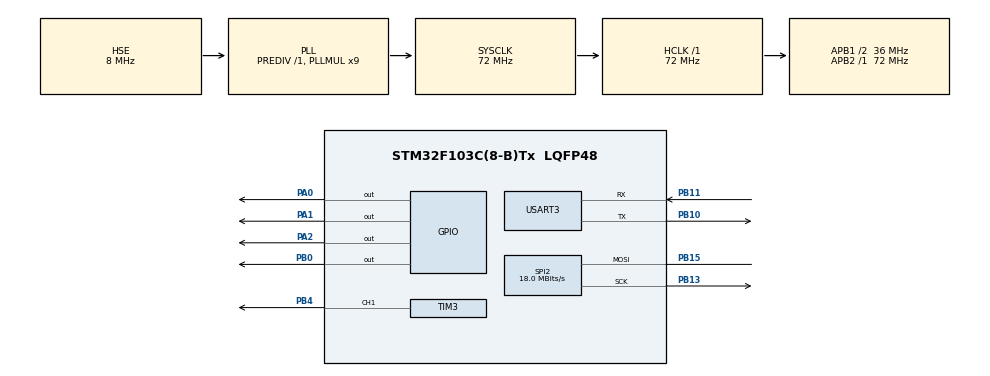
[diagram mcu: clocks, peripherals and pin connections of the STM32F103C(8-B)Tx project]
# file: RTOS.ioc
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FREERTOS.BinarySemaphores01=SensorSem,Dynamic,NULL;ServoSem,Dynamic,NULL;DataSem,Dynamic,NULL;IRQSem,Dynamic,NULL
FREERTOS.Tasks01=Task1,2,128,Task_Sensor,Default,NULL,Dynamic,NULL,NULL;Task2,1,128,Task_Servo,Default,NULL,Dynamic,NULL,NULL;Task3,0,128,Task_Display,Default,NULL,Dynamic,NULL,NULL;Task4,-1,128,Task_Data,Default,NULL,Dynamic,NULL,NULL
Mcu.Family=STM32F1
Mcu.Name=STM32F103C(8-B)Tx
Mcu.Package=LQFP48
NVIC.PriorityGroup=NVIC_PRIORITYGROUP_4
NVIC.TIM1_UP_IRQn=true\:15\:0\:false\:false\:true\:false\:false\:true\:true
NVIC.TimeBase=TIM1_UP_IRQn
NVIC.TimeBaseIP=TIM1
NVIC.USART3_IRQn=true\:5\:0\:false\:false\:true\:true\:true\:true\:true
PA0-WKUP.GPIO_PuPd=GPIO_PULLUP
PA0-WKUP.Signal=GPIO_Output
PA1.GPIO_PuPd=GPIO_PULLUP
PA1.Signal=GPIO_Output
PA13.Mode=Serial_Wire
PA13.Signal=SYS_JTMS-SWDIO
PA14.Mode=Serial_Wire
PA14.Signal=SYS_JTCK-SWCLK
PA2.GPIO_PuPd=GPIO_PULLUP
PA2.Signal=GPIO_Output
PB0.Signal=GPIO_Output
PB10.Mode=Asynchronous
PB10.Signal=USART3_TX
PB11.Mode=Asynchronous
PB11.Signal=USART3_RX
PB13.Mode=Simplex_Bidirectional_Master
PB13.Signal=SPI2_SCK
PB15.Mode=Simplex_Bidirectional_Master
PB15.Signal=SPI2_MOSI
PB4.Signal=S_TIM3_CH1
PD0-OSC_IN.Mode=HSE-External-Oscillator
PD0-OSC_IN.Signal=RCC_OSC_IN
PD1-OSC_OUT.Mode=HSE-External-Oscillator
PD1-OSC_OUT.Signal=RCC_OSC_OUT
ProjectManager.HeapSize=0x200
ProjectManager.StackSize=0x400
ProjectManager.TargetToolchain=Makefile
RCC.AHBFreq_Value=72000000
RCC.APB1CLKDivider=RCC_HCLK_DIV2
RCC.APB1Freq_Value=36000000
RCC.APB1TimFreq_Value=72000000
RCC.APB2Freq_Value=72000000
RCC.APB2TimFreq_Value=72000000
RCC.HCLKFreq_Value=72000000
RCC.PLLMUL=RCC_PLL_MUL9
RCC.PLLSourceVirtual=RCC_PLLSOURCE_HSE
RCC.SYSCLKFreq_VALUE=72000000
RCC.SYSCLKSource=RCC_SYSCLKSOURCE_PLLCLK
RCC.USBFreq_Value=72000000
SH.S_TIM3_CH1.0=TIM3_CH1,PWM Generation1 CH1
SPI2.CalculateBaudRate=18.0 MBits/s
SPI2.Direction=SPI_DIRECTION_1LINE
SPI2.Mode=SPI_MODE_MASTER
SPI2.VirtualType=VM_MASTER
TIM2.Prescaler=72-1
TIM3.Channel-PWM\ Generation1\ CH1=TIM_CHANNEL_1
TIM3.Period=1000-1
TIM3.Prescaler=1444-1
USART3.VirtualMode=VM_ASYNC
VP_FREERTOS_VS_CMSIS_V1.Mode=CMSIS_V1
VP_SYS_VS_tim1.Mode=TIM1
VP_TIM2_VS_ClockSourceINT.Mode=Internal
VP_TIM3_VS_ClockSourceINT.Mode=Internal
board=custom

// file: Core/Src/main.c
/* USER CODE BEGIN Header */
/**
 ******************************************************************************
 * @file           : main.c
 * @brief          : Main program body
 ******************************************************************************
 * @attention
 *
 * Copyright (c) 2023 STMicroelectronics.
 * All rights reserved.
 *
 * This software is licensed under terms that can be found in the LICENSE file
 * in the root directory of this software component.
 * If no LICENSE file comes with this software, it is provided AS-IS.
 *
 ******************************************************************************
 */
/* USER CODE END Header */
#include "main.h"
#include "cmsis_os.h"

/* USER CODE BEGIN Includes */
#include "string.h"
#include "stdio.h"
#include "stdlib.h"
#include "math.h"
#include "st7735.h"
#include "dht22.h"
/* USER CODE END Includes */

 SPI_HandleTypeDef hspi2;

TIM_HandleTypeDef htim2;
TIM_HandleTypeDef htim3;

UART_HandleTypeDef huart3;

osThreadId Task1Handle;
osThreadId Task2Handle;
osThreadId Task3Handle;
osThreadId Task4Handle;
osSemaphoreId SensorSemHandle;
osSemaphoreId ServoSemHandle;
osSemaphoreId DataSemHandle;
osSemaphoreId IRQSemHandle;
/* USER CODE BEGIN PV */
enum
{
  Mode_auto,
  Mode_manual
};
volatile int Mode = Mode_auto;

uint8_t Rx_data;
char buffer_data[50] = {0};
volatile int Rx_index = 0;

// example
int temp;
int humi;

char buf_sensor[20] = {0};
char buf_temp[20] = {0};
char buf_humi[20] = {0};

int count = 25;
char rota[20] = {0};
char threshold[20] = {0};
char label_thres[10] = {0};
char str_thres[5] = {0};
int angle;

int PC_rota;
float PC_threshold=30;

char thres_tring[] = "Thres: 30";
uint8_t RHI, RHD, TCI, TCD, SUM;
float tCelsius = 0;
float tFahrenheit = 0;
float RH = 0;
/* USER CODE END PV */

void SystemClock_Config(void);
static void MX_GPIO_Init(void);
static void MX_USART3_UART_Init(void);
static void MX_SPI2_Init(void);
static void MX_TIM2_Init(void);
static void MX_TIM3_Init(void);
void Task_Sensor(void const * argument);
void Task_Servo(void const * argument);
void Task_Display(void const * argument);
void Task_Data(void const * argument);

/* USER CODE BEGIN 0 */
void log_data(char *buf)
{
  HAL_UART_Transmit(&huart3, (uint8_t *)buf, strlen(buf), 100);
}

void HAL_UART_RxCpltCallback(UART_HandleTypeDef *huart)
{
  if (huart == &huart3)
  {
    if (Rx_data == 13)
    {
      buffer_data[Rx_index] = '\0';
      Rx_index = 0;
      if (strcmp(buffer_data, "manual") == 0)
      {
        Mode = Mode_manual;
      }
      if (strcmp(buffer_data, "auto") == 0)
      {
        Mode = Mode_auto;
      }
      if (strncmp(buffer_data, "Rota", 4) == 0)
      {
        // Parse string
        sscanf(buffer_data, "%*[^0-9]%d", &PC_rota);
      }
      if (strncmp(buffer_data, "Threshold", strlen("Threshold")) == 0)
      {
        log_data("check data thresh\n");
        sscanf(buffer_data, "%s%s", label_thres, str_thres);
      }
      osSemaphoreRelease(IRQSemHandle);
    }
    else
    {
      buffer_data[Rx_index] = (char)Rx_data;
      Rx_index++;
      // log_data((char*)Rx_data);
    }
    HAL_UART_Receive_IT(&huart3, &Rx_data, 1);
  }
}
/* USER CODE END 0 */

int main(void)
{

  /* MCU Configuration--------------------------------------------------------*/

  /* Reset of all peripherals, Initializes the Flash interface and the Systick. */
  HAL_Init();

  /* Configure the system clock */
  SystemClock_Config();

  /* Initialize all configured peripherals */
  MX_GPIO_Init();
  MX_USART3_UART_Init();
  MX_SPI2_Init();
  MX_TIM2_Init();
  MX_TIM3_Init();
  /* USER CODE BEGIN 2 */
  HAL_UART_Receive_IT(&huart3, &Rx_data, 1);
  HAL_TIM_PWM_Start(&htim3, TIM_CHANNEL_1);
  ST7735_Init();
  HAL_TIM_Base_Start(&htim2);
  ST7735_FillScreen(ST7735_BLACK);
  ST7735_WriteString(25, 0, "Team 17", Font_11x18, ST7735_RED, ST7735_BLACK);
  ST7735_WriteString(0, 30, "Temp: ", Font_11x18, ST7735_RED, ST7735_BLACK);
  ST7735_WriteString(0, 3 * 10 * 2, "Humi: ", Font_11x18, ST7735_RED, ST7735_BLACK);
  ST7735_WriteString(0, 3 * 10 * 3, "Rota: ", Font_11x18, ST7735_GREEN, ST7735_BLACK);
  // sprintf(thres_tring,"Thresh: %.1f",PC_threshold);
  // strcat(thres_tring,"30");
  ST7735_WriteString(0, 3 * 10 * 4, thres_tring, Font_11x18, ST7735_GREEN, ST7735_BLACK);
  /* USER CODE END 2 */

  /* Create the semaphores(s) */
  /* definition and creation of SensorSem */
  osSemaphoreDef(SensorSem);
  SensorSemHandle = osSemaphoreCreate(osSemaphore(SensorSem), 1);

  /* definition and creation of ServoSem */
  osSemaphoreDef(ServoSem);
  ServoSemHandle = osSemaphoreCreate(osSemaphore(ServoSem), 1);

  /* definition and creation of DataSem */
  osSemaphoreDef(DataSem);
  DataSemHandle = osSemaphoreCreate(osSemaphore(DataSem), 1);

  /* definition and creation of IRQSem */
  osSemaphoreDef(IRQSem);
  IRQSemHandle = osSemaphoreCreate(osSemaphore(IRQSem), 1);

  /* Create the thread(s) */
  /* definition and creation of Task1 */
  osThreadDef(Task1, Task_Sensor, osPriorityHigh, 0, 128);
  Task1Handle = osThreadCreate(osThread(Task1), NULL);

  /* definition and creation of Task2 */
  osThreadDef(Task2, Task_Servo, osPriorityAboveNormal, 0, 128);
  Task2Handle = osThreadCreate(osThread(Task2), NULL);

  /* definition and creation of Task3 */
  osThreadDef(Task3, Task_Display, osPriorityNormal, 0, 128);
  Task3Handle = osThreadCreate(osThread(Task3), NULL);

  /* definition and creation of Task4 */
  osThreadDef(Task4, Task_Data, osPriorityBelowNormal, 0, 128);
  Task4Handle = osThreadCreate(osThread(Task4), NULL);

  /* Start scheduler */
  osKernelStart();

  /* We should never get here as control is now taken by the scheduler */
  /* Infinite loop */
  while (1)
  {

  }
}

void SystemClock_Config(void)
{
  RCC_OscInitTypeDef RCC_OscInitStruct = {0};
  RCC_ClkInitTypeDef RCC_ClkInitStruct = {0};

  /** Initializes the RCC Oscillators according to the specified parameters
  * in the RCC_OscInitTypeDef structure.
  */
  RCC_OscInitStruct.OscillatorType = RCC_OSCILLATORTYPE_HSE;
  RCC_OscInitStruct.HSEState = RCC_HSE_ON;
  RCC_OscInitStruct.HSEPredivValue = RCC_HSE_PREDIV_DIV1;
  RCC_OscInitStruct.HSIState = RCC_HSI_ON;
  RCC_OscInitStruct.PLL.PLLState = RCC_PLL_ON;
  RCC_OscInitStruct.PLL.PLLSource = RCC_PLLSOURCE_HSE;
  RCC_OscInitStruct.PLL.PLLMUL = RCC_PLL_MUL9;
  if (HAL_RCC_OscConfig(&RCC_OscInitStruct) != HAL_OK)
  {
    Error_Handler();
  }

  /** Initializes the CPU, AHB and APB buses clocks
  */
  RCC_ClkInitStruct.ClockType = RCC_CLOCKTYPE_HCLK|RCC_CLOCKTYPE_SYSCLK
                              |RCC_CLOCKTYPE_PCLK1|RCC_CLOCKTYPE_PCLK2;
  RCC_ClkInitStruct.SYSCLKSource = RCC_SYSCLKSOURCE_PLLCLK;
  RCC_ClkInitStruct.AHBCLKDivider = RCC_SYSCLK_DIV1;
  RCC_ClkInitStruct.APB1CLKDivider = RCC_HCLK_DIV2;
  RCC_ClkInitStruct.APB2CLKDivider = RCC_HCLK_DIV1;

  if (HAL_RCC_ClockConfig(&RCC_ClkInitStruct, FLASH_LATENCY_2) != HAL_OK)
  {
    Error_Handler();
  }
}

static void MX_SPI2_Init(void)
{

  /* SPI2 parameter configuration*/
  hspi2.Instance = SPI2;
  hspi2.Init.Mode = SPI_MODE_MASTER;
  hspi2.Init.Direction = SPI_DIRECTION_1LINE;
  hspi2.Init.DataSize = SPI_DATASIZE_8BIT;
  hspi2.Init.CLKPolarity = SPI_POLARITY_LOW;
  hspi2.Init.CLKPhase = SPI_PHASE_1EDGE;
  hspi2.Init.NSS = SPI_NSS_SOFT;
  hspi2.Init.BaudRatePrescaler = SPI_BAUDRATEPRESCALER_2;
  hspi2.Init.FirstBit = SPI_FIRSTBIT_MSB;
  hspi2.Init.TIMode = SPI_TIMODE_DISABLE;
  hspi2.Init.CRCCalculation = SPI_CRCCALCULATION_DISABLE;
  hspi2.Init.CRCPolynomial = 10;
  if (HAL_SPI_Init(&hspi2) != HAL_OK)
  {
    Error_Handler();
  }

}

static void MX_TIM2_Init(void)
{

  TIM_ClockConfigTypeDef sClockSourceConfig = {0};
  TIM_MasterConfigTypeDef sMasterConfig = {0};

  htim2.Instance = TIM2;
  htim2.Init.Prescaler = 72-1;
  htim2.Init.CounterMode = TIM_COUNTERMODE_UP;
  htim2.Init.Period = 65535;
  htim2.Init.ClockDivision = TIM_CLOCKDIVISION_DIV1;
  htim2.Init.AutoReloadPreload = TIM_AUTORELOAD_PRELOAD_DISABLE;
  if (HAL_TIM_Base_Init(&htim2) != HAL_OK)
  {
    Error_Handler();
  }
  sClockSourceConfig.ClockSource = TIM_CLOCKSOURCE_INTERNAL;
  if (HAL_TIM_ConfigClockSource(&htim2, &sClockSourceConfig) != HAL_OK)
  {
    Error_Handler();
  }
  sMasterConfig.MasterOutputTrigger = TIM_TRGO_RESET;
  sMasterConfig.MasterSlaveMode = TIM_MASTERSLAVEMODE_DISABLE;
  if (HAL_TIMEx_MasterConfigSynchronization(&htim2, &sMasterConfig) != HAL_OK)
  {
    Error_Handler();
  }

}

static void MX_TIM3_Init(void)
{

  TIM_ClockConfigTypeDef sClockSourceConfig = {0};
  TIM_MasterConfigTypeDef sMasterConfig = {0};
  TIM_OC_InitTypeDef sConfigOC = {0};

  htim3.Instance = TIM3;
  htim3.Init.Prescaler = 1444-1;
  htim3.Init.CounterMode = TIM_COUNTERMODE_UP;
  htim3.Init.Period = 1000-1;
  htim3.Init.ClockDivision = TIM_CLOCKDIVISION_DIV1;
  htim3.Init.AutoReloadPreload = TIM_AUTORELOAD_PRELOAD_DISABLE;
  if (HAL_TIM_Base_Init(&htim3) != HAL_OK)
  {
    Error_Handler();
  }
  sClockSourceConfig.ClockSource = TIM_CLOCKSOURCE_INTERNAL;
  if (HAL_TIM_ConfigClockSource(&htim3, &sClockSourceConfig) != HAL_OK)
  {
    Error_Handler();
  }
  if (HAL_TIM_PWM_Init(&htim3) != HAL_OK)
  {
    Error_Handler();
  }
  sMasterConfig.MasterOutputTrigger = TIM_TRGO_RESET;
  sMasterConfig.MasterSlaveMode = TIM_MASTERSLAVEMODE_DISABLE;
  if (HAL_TIMEx_MasterConfigSynchronization(&htim3, &sMasterConfig) != HAL_OK)
  {
    Error_Handler();
  }
  sConfigOC.OCMode = TIM_OCMODE_PWM1;
  sConfigOC.Pulse = 0;
  sConfigOC.OCPolarity = TIM_OCPOLARITY_HIGH;
  sConfigOC.OCFastMode = TIM_OCFAST_DISABLE;
  if (HAL_TIM_PWM_ConfigChannel(&htim3, &sConfigOC, TIM_CHANNEL_1) != HAL_OK)
  {
    Error_Handler();
  }
  HAL_TIM_MspPostInit(&htim3);

}

static void MX_USART3_UART_Init(void)
{

  huart3.Instance = USART3;
  huart3.Init.BaudRate = 115200;
  huart3.Init.WordLength = UART_WORDLENGTH_8B;
  huart3.Init.StopBits = UART_STOPBITS_1;
  huart3.Init.Parity = UART_PARITY_NONE;
  huart3.Init.Mode = UART_MODE_TX_RX;
  huart3.Init.HwFlowCtl = UART_HWCONTROL_NONE;
  huart3.Init.OverSampling = UART_OVERSAMPLING_16;
  if (HAL_UART_Init(&huart3) != HAL_OK)
  {
    Error_Handler();
  }

}

static void MX_GPIO_Init(void)
{
  GPIO_InitTypeDef GPIO_InitStruct = {0};

  /* GPIO Ports Clock Enable */
  __HAL_RCC_GPIOD_CLK_ENABLE();
  __HAL_RCC_GPIOA_CLK_ENABLE();
  __HAL_RCC_GPIOB_CLK_ENABLE();

  /*Configure GPIO pin Output Level */
  HAL_GPIO_WritePin(GPIOA, GPIO_PIN_0|GPIO_PIN_1|GPIO_PIN_2, GPIO_PIN_RESET);

  /*Configure GPIO pin Output Level */
  HAL_GPIO_WritePin(GPIOB, GPIO_PIN_0, GPIO_PIN_RESET);

  /*Configure GPIO pins : PA0 PA1 PA2 */
  GPIO_InitStruct.Pin = GPIO_PIN_0|GPIO_PIN_1|GPIO_PIN_2;
  GPIO_InitStruct.Mode = GPIO_MODE_OUTPUT_PP;
  GPIO_InitStruct.Pull = GPIO_PULLUP;
  GPIO_InitStruct.Speed = GPIO_SPEED_FREQ_LOW;
  HAL_GPIO_Init(GPIOA, &GPIO_InitStruct);

  /*Configure GPIO pin : PB0 */
  GPIO_InitStruct.Pin = GPIO_PIN_0;
  GPIO_InitStruct.Mode = GPIO_MODE_OUTPUT_PP;
  GPIO_InitStruct.Pull = GPIO_NOPULL;
  GPIO_InitStruct.Speed = GPIO_SPEED_FREQ_LOW;
  HAL_GPIO_Init(GPIOB, &GPIO_InitStruct);

}

void Task_Sensor(void const * argument)
{
  /* USER CODE BEGIN 5 */
  /* Infinite loop */
  for (;;)
  {
    log_data("task sensor\n");
    // read sensor
    if (DHT11_Start())
    {
      RHI = DHT11_Read(); // Relative humidity integral
      RHD = DHT11_Read(); // Relative humidity decimal
      TCI = DHT11_Read(); // Celsius integral
      TCD = DHT11_Read(); // Celsius decimal
      SUM = DHT11_Read(); // Check sum
      if (RHI + RHD + TCI + TCD == SUM)
      {
        // Can use RHI and TCI for any purposes if whole number only needed
        temp = (float)TCI + (float)(TCD / 10.0);
        humi = (float)RHI + (float)(RHD / 10.0);
        // Can use tCelsius, tFahrenheit and RH for any purposes
      }
    }
    osSemaphoreRelease(SensorSemHandle);
    osDelay(1000);
  }

  /* USER CODE END 5 */
}

void Task_Servo(void const * argument)
{
  /* USER CODE BEGIN Task_Servo */
  /* Infinite loop */
  for (;;)
  {
    if (osSemaphoreWait(SensorSemHandle, osWaitForever) == osOK || osSemaphoreWait(DataSemHandle, osWaitForever) == osOK)
    {
      log_data("task servo\n");
      if (Mode == Mode_auto)
      {
        log_data("task servo mode auto\n");
        if (temp > PC_threshold)
        {
          TIM3->CCR1 = 25;
          PC_rota = 0;
          //ST7735_WriteString(0, 3 * 10 * 3, rota, Font_11x18, ST7735_GREEN, ST7735_BLACK);
        }
        //>30C -> close curtain
        else
        {
          TIM3->CCR1 = 125;
          PC_rota = 180;
          //ST7735_WriteString(0, 3 * 10 * 3, rota, Font_11x18, ST7735_GREEN, ST7735_BLACK);
        }
      }
      if (Mode == Mode_manual)
      {
        log_data("task servo mode manual\n");
        TIM3->CCR1 = (int)((PC_rota + 45) / 1.8);
      }
      osSemaphoreRelease(ServoSemHandle);
    }
    osDelay(500);
  }
  /* USER CODE END Task_Servo */
}

void Task_Display(void const * argument)
{
  /* USER CODE BEGIN Task_Display */
  /* Infinite loop */
  for (;;)
  {
    osSemaphoreWait(ServoSemHandle, osWaitForever);
    log_data("Task Display\n");
    sprintf(buf_temp, "Temp: %d C", temp);
    sprintf(buf_humi, "Humi: %d ", humi);
    log_data(buf_temp);
    log_data("\n");
    log_data(buf_humi);
    log_data("\n");
    if (temp > PC_threshold)
    {
      sprintf(rota, "Rota: %d  ", 0);
      log_data(rota);
      log_data("\n");
      ST7735_WriteString(35, 145, "Warnning", Font_7x10, ST7735_WHITE, ST7735_BLACK);
    }
    else
    {
      sprintf(rota, "Rota: %d  ", 180);
      log_data(rota);
      log_data("\n");
      ST7735_WriteString(35, 145, "          ", Font_7x10, ST7735_WHITE, ST7735_BLACK);
    }
    sprintf(rota, "Rota: %d  ", PC_rota);
    ST7735_WriteString(0, 30, buf_temp, Font_11x18, ST7735_RED, ST7735_BLACK);
    ST7735_WriteString(0, 3 * 10 * 2, strcat(buf_humi, "%"), Font_11x18, ST7735_RED, ST7735_BLACK);
    ST7735_WriteString(0, 3 * 10 * 3, rota, Font_11x18, ST7735_GREEN, ST7735_BLACK);
    osDelay(500);
  }
  /* USER CODE END Task_Display */
}

void Task_Data(void const * argument)
{
  /* USER CODE BEGIN Task_Data */
  /* Infinite loop */
  for (;;)
  {
    osSemaphoreWait(IRQSemHandle, osWaitForever);
    log_data("task uart\n");
    if (strncmp(buffer_data, "Rota", 4) == 0)
    {
      log_data("check data rota\n");
      // Parse string
      //sscanf(buffer_data, "%*[^0-9]%d", &PC_rota);
      // control Servo
      sprintf(rota, "Rota: %d  ", PC_rota);
      log_data("\nPC control ");
      log_data(rota);
      ST7735_WriteString(0, 3 * 10 * 3, rota, Font_11x18, ST7735_GREEN, ST7735_BLACK);
    }
    if (strncmp(buffer_data, "Threshold", strlen("Threshold")) == 0)
    {
      log_data("check data thresh\n");
      char str_buf[] = "Thres: ";
      // Parse string
      //sscanf(buffer_data, "%s%s", label_thres, str_thres);
      // control Servo
      PC_threshold = atof(str_thres);
      strcat(str_buf, str_thres);
      log_data("\nPC set Threshold: ");
      log_data(str_thres);
      ST7735_WriteString(0, 3 * 10 * 4, str_buf, Font_11x18, ST7735_GREEN, ST7735_BLACK);
    }
    memset(buffer_data, '\0', sizeof(buffer_data));
    osSemaphoreRelease(DataSemHandle);
    osDelay(500);
  }
  /* USER CODE END Task_Data */
}

void HAL_TIM_PeriodElapsedCallback(TIM_HandleTypeDef *htim)
{
  if (htim->Instance == TIM1) {
    HAL_IncTick();
  }
}

void Error_Handler(void)
{
  __disable_irq();
  while (1)
  {
  }
}
